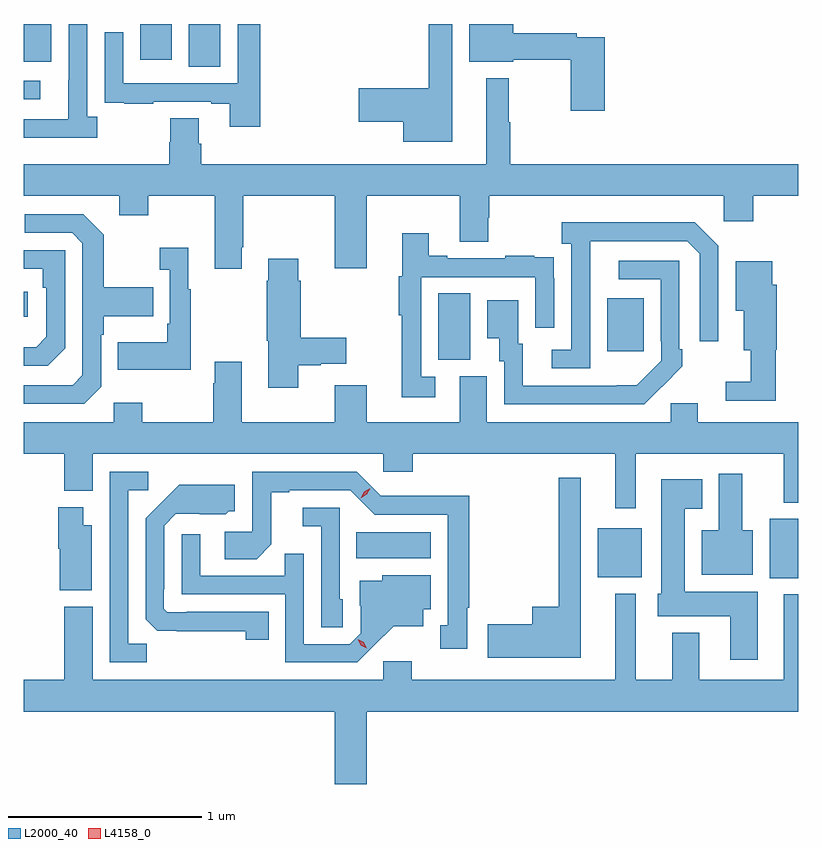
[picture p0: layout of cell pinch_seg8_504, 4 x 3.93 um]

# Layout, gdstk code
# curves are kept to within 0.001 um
import gdstk
lib = gdstk.Library(unit=1e-6, precision=1e-09)
def R(c, l, rs):  # rectangles x0, y0, x1, y1
    for r in rs: c.add(gdstk.rectangle(r[:2], r[2:], *l))
def P(c, l, *ps):  # polygons
    for p in ps: c.add(gdstk.Polygon(p, *l))
L2000_40 = (2000, 40)
L4158_0 = (4158, 0)

pinch_seg8_504 = lib.new_cell('pinch_seg8_504')
R(pinch_seg8_504, L2000_40, [(203.219,1103.87,203.365,1104.175), (202.331,1103.873,202.558,1104.127), (201.082,1103.972,201.466,1104.106), (201.506,1104.997,201.67,1105.34), (202.379,1105.041,202.567,1105.315), (199.365,1105.22,199.384,1105.35), (199.365,1106.343,199.45,1106.439), (200.216,1106.512,200.38,1106.732), (199.365,1106.537,199.507,1106.732), (199.967,1106.547,200.128,1106.732)])
P(pinch_seg8_504, L2000_40, [(202.367,1106.664),(202.22,1106.664),(202.22,1106.684),(201.892,1106.684),(201.892,1106.732),(201.665,1106.732),(201.665,1106.537),(201.892,1106.537),(201.892,1106.548),(202.189,1106.548),(202.189,1106.283),(202.367,1106.283)],
  [(201.577,1106.732),(201.456,1106.732),(201.456,1106.399),(201.096,1106.399),(201.096,1106.228),(201.326,1106.228),(201.326,1106.123),(201.577,1106.123)],
  [(199.744,1106.254),(199.692,1106.254),(199.692,1106.732),(199.596,1106.732),(199.596,1106.441),(199.595,1106.441),(199.595,1106.241),(199.365,1106.241),(199.365,1106.144),(199.744,1106.144)],
  [(200.585,1106.732),(200.469,1106.732),(200.469,1106.427),(199.878,1106.427),(199.878,1106.689),(199.782,1106.689),(199.782,1106.434),(199.783,1106.434),(199.783,1106.325),(199.885,1106.325),(199.885,1106.319),(200.033,1106.319),(200.033,1106.331),(200.333,1106.331),(200.333,1106.319),(200.429,1106.319),(200.429,1106.202),(200.585,1106.202)],
  [(201.765,1105.731),(201.77,1105.731),(201.77,1105.844),(202.98,1105.844),(202.98,1105.713),(203.132,1105.713),(203.132,1105.844),(203.365,1105.844),(203.365,1106.008),(201.877,1106.008),(201.877,1106.225),(201.869,1106.225),(201.869,1106.452),(201.755,1106.452),(201.755,1106.008),(200.282,1106.008),(200.282,1106.114),(200.269,1106.114),(200.269,1106.246),(200.122,1106.246),(200.122,1106.121),(200.117,1106.121),(200.117,1106.008),(199.365,1106.008),(199.365,1105.844),(199.859,1105.844),(199.859,1105.745),(200.007,1105.745),(200.007,1105.844),(200.351,1105.844),(200.351,1105.467),(200.491,1105.467),(200.491,1105.579),(200.499,1105.579),(200.499,1105.844),(200.972,1105.844),(200.972,1105.47),(201.136,1105.47),(201.136,1105.844),(201.617,1105.844),(201.617,1105.606),(201.765,1105.606)],
  [(199.764,1104.858),(199.764,1105.127),(199.777,1105.127),(199.777,1105.223),(200.033,1105.223),(200.033,1105.371),(199.777,1105.371),(199.777,1105.643),(199.671,1105.749),(199.371,1105.749),(199.371,1105.653),(199.614,1105.653),(199.668,1105.599),(199.668,1104.918),(199.617,1104.867),(199.365,1104.867),(199.365,1104.771),(199.677,1104.771)],
  [(202.29,1105.411),(202.291,1105.611),(202.791,1105.611),(202.857,1105.545),(202.857,1105.092),(202.953,1105.092),(202.953,1105.587),(202.832,1105.708),(202.143,1105.708),(202.143,1105.598),(202.194,1105.598),(202.194,1105.05),(202.092,1105.05),(202.092,1104.954),(202.29,1104.954)],
  [(201.49,1104.909),(201.417,1104.909),(201.417,1105.425),(202.008,1105.425),(202.008,1105.164),(202.104,1105.164),(202.104,1105.418),(202.103,1105.418),(202.103,1105.527),(202.001,1105.527),(202.001,1105.534),(201.853,1105.534),(201.853,1105.521),(201.553,1105.521),(201.553,1105.534),(201.457,1105.534),(201.457,1105.651),(201.32,1105.651),(201.32,1105.428),(201.301,1105.428),(201.301,1105.227),(201.316,1105.227),(201.316,1104.804),(201.49,1104.804)],
  [(200.227,1105.363),(200.215,1105.363),(200.215,1105.576),(200.067,1105.576),(200.067,1105.463),(200.118,1105.463),(200.118,1105.183),(200.106,1105.183),(200.106,1105.087),(199.849,1105.087),(199.849,1104.947),(200.227,1104.947)],
  [(199.578,1105.056),(199.578,1105.563),(199.365,1105.563),(199.365,1105.467),(199.462,1105.467),(199.462,1105.37),(199.482,1105.37),(199.482,1105.116),(199.429,1105.063),(199.365,1105.063),(199.365,1104.966),(199.488,1104.966)],
  [(200.782,1104.97),(200.898,1104.97),(200.898,1104.977),(201.031,1104.977),(201.031,1105.112),(200.795,1105.112),(200.795,1105.406),(200.782,1105.406),(200.782,1105.519),(200.627,1105.519),(200.627,1105.406),(200.62,1105.406),(200.62,1105.095),(200.627,1105.095),(200.627,1104.852),(200.782,1104.852)],
  [(202.661,1104.859),(202.662,1104.858),(202.767,1104.963),(202.767,1105.051),(202.752,1105.051),(202.752,1105.509),(202.437,1105.509),(202.437,1105.413),(202.656,1105.413),(202.656,1105.093),(202.659,1105.093),(202.659,1104.993),(202.531,1104.865),(201.943,1104.864),(201.943,1105.08),(201.919,1105.08),(201.919,1105.306),(201.758,1105.306),(201.758,1105.109),(201.821,1105.109),(201.821,1104.99),(201.846,1104.99),(201.846,1104.768),(202.57,1104.768)],
  [(203.249,1105.05),(203.255,1105.05),(203.255,1105.386),(203.23,1105.386),(203.23,1105.507),(203.042,1105.507),(203.042,1105.25),(203.084,1105.25),(203.084,1105.046),(203.121,1105.046),(203.121,1104.883),(202.992,1104.883),(202.992,1104.786),(203.249,1104.786)],
  [(203.291,1104.26),(203.365,1104.26),(203.365,1104.676),(202.846,1104.676),(202.846,1104.774),(202.707,1104.774),(202.707,1104.676),(201.757,1104.676),(201.757,1104.912),(201.617,1104.912),(201.617,1104.676),(201.136,1104.676),(201.136,1104.865),(200.972,1104.865),(200.972,1104.676),(200.491,1104.676),(200.491,1104.988),(200.351,1104.988),(200.351,1104.875),(200.344,1104.875),(200.344,1104.676),(199.977,1104.676),(199.977,1104.775),(199.83,1104.775),(199.83,1104.676),(199.365,1104.676),(199.365,1104.512),(199.573,1104.512),(199.573,1104.32),(199.72,1104.32),(199.72,1104.512),(201.222,1104.512),(201.222,1104.419),(201.374,1104.419),(201.374,1104.512),(202.421,1104.512),(202.421,1104.231),(202.525,1104.231),(202.525,1104.512),(203.291,1104.512)],
  [(201.655,1103.717),(201.665,1103.717),(201.665,1104.296),(201.432,1104.296),(201.432,1104.294),(201.21,1104.294),(201.084,1104.42),(200.544,1104.42),(200.544,1104.108),(200.403,1104.108),(200.403,1103.968),(200.567,1103.968),(200.643,1104.044),(200.643,1104.312),(200.737,1104.312),(200.737,1104.324),(201.051,1104.324),(201.177,1104.198),(201.554,1104.198),(201.554,1103.625),(201.515,1103.625),(201.515,1103.505),(201.655,1103.505)],
  [(200.001,1103.531),(199.905,1103.531),(199.905,1104.324),(200.008,1104.324),(200.008,1104.42),(199.809,1104.42),(199.809,1103.436),(200.001,1103.436)],
  [(203.131,1104.118),(203.077,1104.118),(203.077,1104.409),(202.955,1104.409),(202.955,1104.118),(202.868,1104.118),(202.868,1103.888),(203.131,1103.888)],
  [(202.243,1104.388),(202.129,1104.388),(202.129,1103.722),(201.992,1103.722),(201.992,1103.63),(201.762,1103.63),(201.762,1103.459),(202.243,1103.459)],
  [(203.155,1103.8),(202.78,1103.8),(202.78,1104.227),(202.87,1104.227),(202.87,1104.379),(202.658,1104.379),(202.658,1103.79),(202.64,1103.79),(202.64,1103.672),(203.015,1103.672),(203.015,1103.448),(203.155,1103.448)],
  [(200.63,1103.697),(200.206,1103.697),(200.206,1103.694),(200.106,1103.694),(200.088,1103.712),(200.088,1103.812),(200.091,1103.812),(200.091,1104.141),(200.151,1104.201),(200.408,1104.2),(200.424,1104.216),(200.455,1104.216),(200.455,1104.352),(200.167,1104.352),(199.995,1104.178),(199.995,1103.656),(200.054,1103.597),(200.512,1103.596),(200.512,1103.55),(200.63,1103.55)],
  [(199.717,1104.142),(199.672,1104.142),(199.672,1104.235),(199.543,1104.235),(199.543,1104.021),(199.55,1104.021),(199.55,1103.807),(199.717,1103.807)],
  [(201.012,1103.76),(200.997,1103.76),(200.997,1104.234),(200.805,1104.234),(200.805,1104.137),(200.901,1104.137),(200.901,1103.617),(201.012,1103.617)],
  [(201.172,1103.519),(201.275,1103.621),(201.427,1103.621),(201.427,1103.708),(201.466,1103.708),(201.466,1103.884),(201.216,1103.884),(201.216,1103.857),(201.101,1103.857),(201.101,1103.728),(201.105,1103.728),(201.105,1103.586),(201.048,1103.529),(200.811,1103.529),(200.811,1103.996),(200.713,1103.996),(200.713,1103.883),(200.277,1103.883),(200.277,1104.097),(200.181,1104.097),(200.181,1103.787),(200.715,1103.787),(200.715,1103.436),(201.088,1103.436)],
  [(201.136,1103.18),(203.365,1103.18),(203.365,1103.785),(203.291,1103.785),(203.291,1103.344),(202.855,1103.344),(202.855,1103.587),(202.715,1103.587),(202.715,1103.344),(202.525,1103.344),(202.525,1103.788),(202.421,1103.788),(202.421,1103.344),(201.369,1103.344),(201.369,1103.44),(201.222,1103.44),(201.222,1103.344),(199.72,1103.344),(199.72,1103.722),(199.573,1103.722),(199.573,1103.344),(199.365,1103.344),(199.365,1103.18),(200.972,1103.18),(200.972,1102.806),(201.136,1102.806)])
P(pinch_seg8_504, L4158_0, [(201.106,1104.282),(201.106,1104.283),(201.123,1104.316),(201.154,1104.335),(201.154,1104.335),(201.154,1104.335),(201.137,1104.302),(201.106,1104.282)],
  [(201.136,1103.508),(201.106,1103.523),(201.089,1103.553),(201.089,1103.553),(201.09,1103.553),(201.12,1103.538),(201.136,1103.508),(201.136,1103.508)])

lib.write_gds('pinch_seg8_504.gds')
